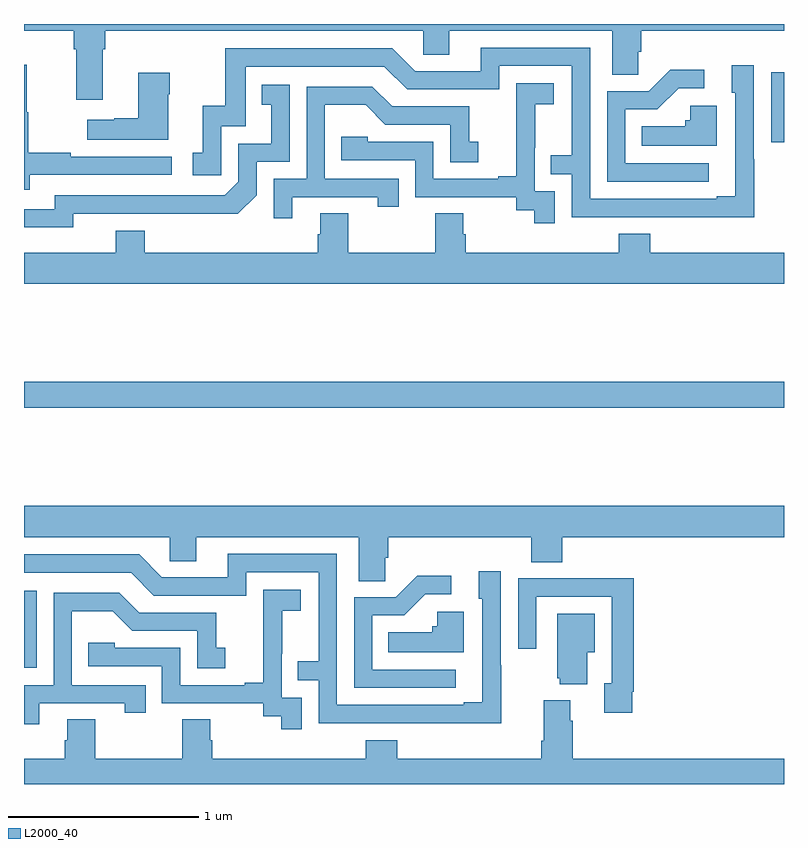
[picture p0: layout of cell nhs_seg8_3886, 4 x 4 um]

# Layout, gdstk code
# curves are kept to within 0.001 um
import gdstk
lib = gdstk.Library(unit=1e-6, precision=1e-09)
def R(c, l, rs):  # rectangles x0, y0, x1, y1
    for r in rs: c.add(gdstk.rectangle(r[:2], r[2:], *l))
def P(c, l, *ps):  # polygons
    for p in ps: c.add(gdstk.Polygon(p, *l))
L2000_40 = (2000, 40)

nhs_seg8_3886 = lib.new_cell('nhs_seg8_3886')
R(nhs_seg8_3886, L2000_40, [(351,1082.511,351.066,1082.917), (351,1083.88,355,1084.016), (354.933,1085.277,355,1085.646)])
P(nhs_seg8_3886, L2000_40, [(351.415,1085.768),(351.428,1085.768),(351.428,1085.864),(353.1,1085.864),(353.1,1085.737),(353.239,1085.737),(353.239,1085.864),(354.095,1085.864),(354.095,1085.632),(354.234,1085.632),(354.234,1085.755),(354.248,1085.755),(354.248,1085.864),(355,1085.864),(355,1085.9),(351,1085.9),(351,1085.864),(351.263,1085.864),(351.263,1085.768),(351.275,1085.768),(351.275,1085.502),(351.415,1085.502)],
  [(354.843,1085.189),(354.84,1085.189),(354.84,1085.683),(354.725,1085.683),(354.725,1085.538),(354.744,1085.538),(354.744,1084.993),(354.647,1084.993),(354.647,1084.98),(353.979,1084.98),(353.979,1085.775),(353.405,1085.775),(353.405,1085.652),(353.058,1085.652),(352.938,1085.772),(352.059,1085.772),(352.059,1085.47),(351.941,1085.47),(351.941,1085.223),(351.888,1085.223),(351.888,1085.103),(352.038,1085.103),(352.038,1085.361),(352.167,1085.361),(352.167,1085.676),(352.896,1085.676),(353.016,1085.556),(353.502,1085.556),(353.502,1085.679),(353.883,1085.679),(353.883,1085.21),(353.773,1085.21),(353.773,1085.109),(353.883,1085.109),(353.883,1084.884),(354.843,1084.883)],
  [(351.029,1085.106),(351.778,1085.106),(351.778,1085.202),(351.245,1085.202),(351.245,1085.222),(351.022,1085.222),(351.022,1085.436),(351.014,1085.436),(351.014,1085.686),(351,1085.686),(351,1085.028),(351.029,1085.028)],
  [(354.604,1085.166),(354.165,1085.166),(354.165,1085.451),(354.334,1085.451),(354.445,1085.562),(354.58,1085.562),(354.58,1085.66),(354.401,1085.66),(354.288,1085.547),(354.069,1085.547),(354.069,1085.07),(354.604,1085.07)],
  [(351.76,1085.531),(351.768,1085.531),(351.768,1085.644),(351.602,1085.644),(351.602,1085.405),(351.476,1085.405),(351.476,1085.395),(351.333,1085.395),(351.333,1085.291),(351.76,1085.291)],
  [(353.793,1085.019),(353.688,1085.019),(353.688,1085.249),(353.69,1085.249),(353.69,1085.477),(353.788,1085.477),(353.788,1085.587),(353.59,1085.587),(353.59,1085.381),(353.591,1085.381),(353.591,1085.098),(353.495,1085.098),(353.495,1085.085),(353.154,1085.085),(353.154,1085.28),(352.809,1085.28),(352.809,1085.307),(352.669,1085.307),(352.669,1085.184),(353.058,1085.184),(353.058,1084.989),(353.592,1084.989),(353.592,1084.921),(353.685,1084.921),(353.685,1084.851),(353.793,1084.851)],
  [(351.258,1084.902),(352.126,1084.901),(352.224,1084.998),(352.224,1085.175),(352.398,1085.175),(352.398,1085.581),(352.252,1085.581),(352.252,1085.475),(352.301,1085.475),(352.301,1085.271),(352.128,1085.271),(352.128,1085.07),(352.056,1084.998),(351.162,1084.998),(351.162,1084.926),(351,1084.926),(351,1084.829),(351.258,1084.829)],
  [(352.411,1084.989),(352.862,1084.989),(352.862,1084.938),(352.973,1084.938),(352.973,1085.085),(352.584,1085.085),(352.584,1085.474),(352.798,1085.474),(352.902,1085.37),(353.244,1085.37),(353.244,1085.172),(353.392,1085.172),(353.392,1085.281),(353.343,1085.281),(353.343,1085.466),(352.939,1085.466),(352.834,1085.571),(352.488,1085.571),(352.488,1085.085),(352.314,1085.085),(352.314,1084.878),(352.411,1084.878)],
  [(354.646,1085.47),(354.507,1085.47),(354.507,1085.394),(354.481,1085.394),(354.481,1085.362),(354.25,1085.362),(354.25,1085.258),(354.646,1085.258)],
  [(355,1084.696),(354.296,1084.696),(354.296,1084.795),(354.131,1084.795),(354.131,1084.696),(353.324,1084.696),(353.324,1084.794),(353.311,1084.794),(353.311,1084.904),(353.164,1084.904),(353.164,1084.696),(352.707,1084.696),(352.707,1084.904),(352.559,1084.904),(352.559,1084.794),(352.547,1084.794),(352.547,1084.696),(351.635,1084.696),(351.635,1084.813),(351.482,1084.813),(351.482,1084.696),(351,1084.696),(351,1084.532),(355,1084.532)],
  [(352.902,1083.091),(352.916,1083.091),(352.916,1083.2),(353.669,1083.2),(353.669,1083.067),(353.834,1083.067),(353.834,1083.2),(355,1083.2),(355,1083.364),(351,1083.364),(351,1083.2),(351.768,1083.2),(351.768,1083.073),(351.907,1083.073),(351.907,1083.2),(352.763,1083.2),(352.763,1082.968),(352.902,1082.968)],
  [(353.511,1082.525),(353.508,1082.525),(353.508,1083.019),(353.393,1083.019),(353.393,1082.874),(353.412,1082.874),(353.412,1082.329),(353.315,1082.329),(353.315,1082.316),(352.647,1082.316),(352.647,1083.111),(352.073,1083.111),(352.073,1082.988),(351.726,1082.988),(351.606,1083.108),(351,1083.108),(351,1083.012),(351.564,1083.012),(351.684,1082.892),(352.17,1082.892),(352.17,1083.015),(352.551,1083.015),(352.551,1082.546),(352.441,1082.546),(352.441,1082.445),(352.551,1082.445),(352.551,1082.22),(353.511,1082.219)],
  [(353.272,1082.502),(352.833,1082.502),(352.833,1082.787),(353.002,1082.787),(353.113,1082.898),(353.248,1082.898),(353.248,1082.996),(353.069,1082.996),(352.956,1082.883),(352.737,1082.883),(352.737,1082.406),(353.272,1082.406)],
  [(354.202,1082.386),(354.209,1082.386),(354.209,1082.984),(353.917,1082.984),(353.917,1082.982),(353.601,1082.982),(353.601,1082.613),(353.697,1082.613),(353.697,1082.886),(354.093,1082.886),(354.093,1082.43),(354.053,1082.43),(354.053,1082.274),(354.202,1082.274)],
  [(352.461,1082.355),(352.356,1082.355),(352.356,1082.585),(352.358,1082.585),(352.358,1082.813),(352.456,1082.813),(352.456,1082.923),(352.258,1082.923),(352.258,1082.717),(352.259,1082.717),(352.259,1082.434),(352.163,1082.434),(352.163,1082.421),(351.822,1082.421),(351.822,1082.616),(351.477,1082.616),(351.477,1082.643),(351.337,1082.643),(351.337,1082.52),(351.726,1082.52),(351.726,1082.325),(352.26,1082.325),(352.26,1082.257),(352.353,1082.257),(352.353,1082.187),(352.461,1082.187)],
  [(351.079,1082.325),(351.53,1082.325),(351.53,1082.274),(351.641,1082.274),(351.641,1082.421),(351.252,1082.421),(351.252,1082.81),(351.466,1082.81),(351.57,1082.706),(351.912,1082.706),(351.912,1082.508),(352.06,1082.508),(352.06,1082.617),(352.011,1082.617),(352.011,1082.802),(351.607,1082.802),(351.502,1082.907),(351.156,1082.907),(351.156,1082.421),(351,1082.421),(351,1082.214),(351.079,1082.214)],
  [(353.314,1082.806),(353.175,1082.806),(353.175,1082.73),(353.149,1082.73),(353.149,1082.698),(352.918,1082.698),(352.918,1082.594),(353.314,1082.594)],
  [(353.965,1082.594),(354.004,1082.594),(354.004,1082.797),(353.807,1082.797),(353.807,1082.457),(353.819,1082.457),(353.819,1082.426),(353.965,1082.426)],
  [(355,1082.032),(353.888,1082.032),(353.888,1082.234),(353.875,1082.234),(353.875,1082.341),(353.735,1082.341),(353.735,1082.128),(353.723,1082.128),(353.723,1082.032),(352.964,1082.032),(352.964,1082.131),(352.799,1082.131),(352.799,1082.032),(351.992,1082.032),(351.992,1082.13),(351.979,1082.13),(351.979,1082.24),(351.832,1082.24),(351.832,1082.032),(351.375,1082.032),(351.375,1082.24),(351.227,1082.24),(351.227,1082.13),(351.215,1082.13),(351.215,1082.032),(351,1082.032),(351,1081.9),(355,1081.9)])

lib.write_gds('nhs_seg8_3886.gds')
